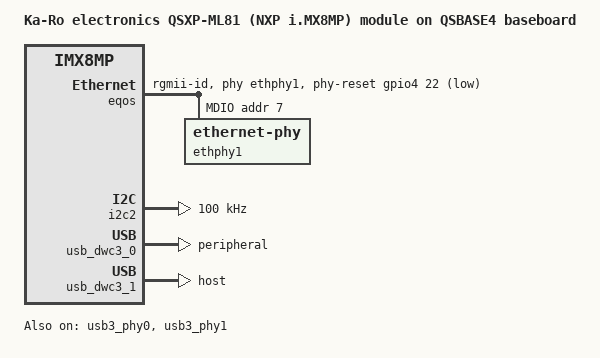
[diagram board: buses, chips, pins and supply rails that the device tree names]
// SPDX-License-Identifier: (GPL-2.0 OR MIT)
/*
 * Copyright (C) 2020 Lothar Waßmann <LW@KARO-electronics.de>
 *
 */

/dts-v1/;

#include "imx8mp-qsxp-ml81.dts"

/ {
	model = "Ka-Ro electronics QSXP-ML81 (NXP i.MX8MP) module on QSBASE4 baseboard";
};

&eqos {
	pinctrl-names = "default";
	pinctrl-0 = <&pinctrl_eqos &pinctrl_etnphy_rst_b>;
	phy-mode = "rgmii-id";
	phy-handle = <&ethphy1>;
	phy-reset-gpios = <&gpio4 22 GPIO_ACTIVE_LOW>;
	phy-reset-duration = <25000>; /* µs */
	phy-reset-post-delay = <100>;
	status = "okay";

	mdio {
		#address-cells = <1>;
		#size-cells = <0>;

		ethphy1: ethernet-phy@7 {
			reg = <7>;
		};
	};
};

&i2c2 {
	clock-frequency = <100000>; /* for ATTINY regulator of RPI 7inch display */
};

&usb_dwc3_0 {
	dr_mode = "peripheral";
	hnp-disable;
	srp-disable;
	adp-disable;
	status = "okay";
};

&usb_dwc3_1 {
	dr_mode = "host";
	status = "okay";
};

&usb3_phy0 {
	status = "okay";
};

&usb3_phy1 {
	status = "okay";
};

&usdhc2 {
	status = "disabled";
};

&iomuxc {
	pinctrl_etnphy_rst_b: etnphy-rst-bgrp {
		fsl,pins = <
			    MX8MP_IOMUXC_SAI2_RXC__GPIO4_IO22			0x140
		>;
	};

	pinctrl_eqos: eqosgrp {
		fsl,pins = <
			MX8MP_IOMUXC_ENET_MDC__ENET_QOS_MDC			0x142
			MX8MP_IOMUXC_ENET_MDIO__ENET_QOS_MDIO			0x142
			MX8MP_IOMUXC_ENET_TXC__ENET_QOS_RGMII_TX_CLK		0x40000016
			MX8MP_IOMUXC_ENET_TD0__ENET_QOS_RGMII_TD0		0x016
			MX8MP_IOMUXC_ENET_TD1__ENET_QOS_RGMII_TD1		0x016
			MX8MP_IOMUXC_ENET_TD2__ENET_QOS_RGMII_TD2		0x016
			MX8MP_IOMUXC_ENET_TD3__ENET_QOS_RGMII_TD3		0x016
			MX8MP_IOMUXC_ENET_TX_CTL__ENET_QOS_RGMII_TX_CTL		0x016
			/* KSZ9031 Strap pins */
			MX8MP_IOMUXC_ENET_RD0__ENET_QOS_RGMII_RD0		0x110 /* MODE0 */
			MX8MP_IOMUXC_ENET_RD1__ENET_QOS_RGMII_RD1		0x150 /* MODE1 */
			MX8MP_IOMUXC_ENET_RD2__ENET_QOS_RGMII_RD2		0x150 /* MODE2 */
			MX8MP_IOMUXC_ENET_RD3__ENET_QOS_RGMII_RD3		0x150 /* MODE3 */
			MX8MP_IOMUXC_ENET_RXC__ENET_QOS_RGMII_RX_CLK		0x156 /* PHYAD2 */
			MX8MP_IOMUXC_ENET_RX_CTL__ENET_QOS_RGMII_RX_CTL		0x110 /* CLK125EN */
			MX8MP_IOMUXC_GPIO1_IO00__CCM_ENET_PHY_REF_CLK_ROOT	0x110 /* LED_MODE */
		>;
	};
};
